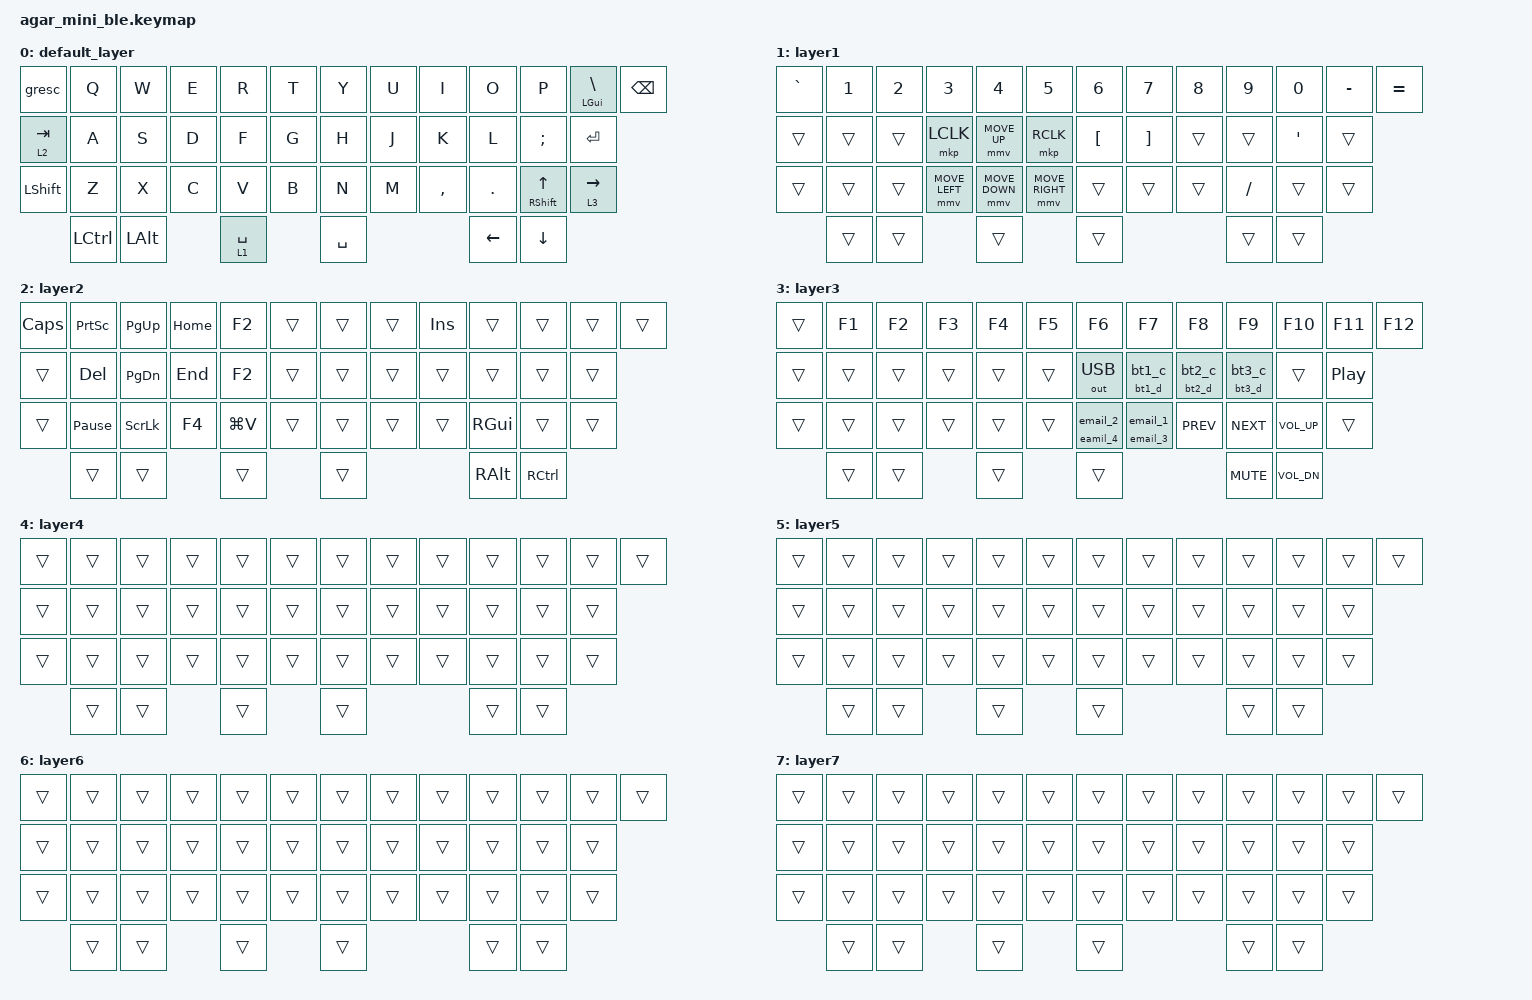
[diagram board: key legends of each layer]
/*
 * Copyright (c) 2021 The ZMK Contributors
 *
 * SPDX-License-Identifier: MIT
 */

#include "./boards/shields/klink_kbd/common.keymap"
#include <behaviors.dtsi>
#include <dt-bindings/zmk/bt.h>
#include <dt-bindings/zmk/keys.h>
#include <dt-bindings/zmk/outputs.h>
#include <dt-bindings/zmk/pointing.h>

/ {
    macros {
        bt1_c: ble1 {
            compatible = "zmk,behavior-macro";
            #binding-cells = <0>;
            bindings = <&out OUT_BLE &bt BT_SEL 1>;
            label = "BLE1";
        };

        bt2_c: ble2 {
            compatible = "zmk,behavior-macro";
            #binding-cells = <0>;
            bindings = <&out OUT_BLE &bt BT_SEL 2>;
            label = "BLE2";
        };

        bt3_c: bt3 {
            compatible = "zmk,behavior-macro";
            #binding-cells = <0>;
            bindings = <&out OUT_BLE &bt BT_SEL 3>;
            label = "BT3";
        };

        bt1_d: bt1_d {
            compatible = "zmk,behavior-macro";
            #binding-cells = <0>;
            bindings = <&bt BT_SEL 1 &bt BT_CLR>;
            label = "BT1_D";
        };

        bt2_d: bt2_d {
            compatible = "zmk,behavior-macro";
            #binding-cells = <0>;
            bindings = <&bt BT_SEL 2 &bt BT_CLR>;
            label = "BT2_D";
        };

        bt3_d: bt3_d {
            compatible = "zmk,behavior-macro";
            #binding-cells = <0>;
            bindings = <&bt BT_SEL 3 &bt BT_CLR>;
            label = "BT3_D";
        };

        email_1: email_1 {
            compatible = "zmk,behavior-macro";
            #binding-cells = <0>;
            bindings = <&kp G &kp L &kp I &kp E &kp S &kp E &kp N2 &kp N7 &kp N1 &kp N8 &kp AT &kp G &kp M &kp A &kp I &kp L &kp DOT &kp C &kp O &kp M>;
            label = "EMAIL_1";
        };

        email_2: email_2 {
            compatible = "zmk,behavior-macro";
            #binding-cells = <0>;
            bindings = <&kp K &kp E &kp P &kp L &kp E &kp R &kp DOT &kp D &kp E &kp V &kp DOT &kp N3 &kp N1 &kp N4 &kp N1 &kp AT &kp G &kp M &kp A &kp I &kp L &kp DOT &kp C &kp O &kp M>;
            label = "EMAIL_2";
        };

        email_3: email_3 {
            compatible = "zmk,behavior-macro";
            #binding-cells = <0>;
            bindings = <&kp K &kp E &kp P &kp L &kp E &kp R &kp DOT &kp G &kp A &kp M &kp E &kp DOT &kp N3 &kp N1 &kp N4 &kp N1 &kp AT &kp G &kp M &kp A &kp I &kp L &kp DOT &kp C &kp O &kp M>;
            label = "EMAIL_3";
        };

        eamil_4: eamil_4 {
            compatible = "zmk,behavior-macro";
            #binding-cells = <0>;
            bindings = <&kp P &kp A &kp R &kp K &kp S &kp J &kp AT &kp O &kp DOT &kp C &kp N &kp U &kp DOT &kp A &kp C &kp DOT &kp K &kp R>;
            label = "EAMIL_4";
        };
    };

    behaviors {
        bt1: bt1 {
            compatible = "zmk,behavior-hold-tap";
            label = "BT1";
            bindings = <&bt1_d>, <&bt1_c>;

            #binding-cells = <2>;
            tapping-term-ms = <3000>;
        };

        bt2: bt2 {
            compatible = "zmk,behavior-hold-tap";
            label = "BT2";
            bindings = <&bt2_d>, <&bt2_c>;

            #binding-cells = <2>;
            tapping-term-ms = <3000>;
        };

        bt3: bt3 {
            compatible = "zmk,behavior-hold-tap";
            label = "BT3";
            bindings = <&bt3_d>, <&bt3_c>;

            #binding-cells = <2>;
            tapping-term-ms = <3000>;
        };

        email1: email1 {
            compatible = "zmk,behavior-hold-tap";
            label = "EMAIL1";
            bindings = <&email_3>, <&email_1>;

            #binding-cells = <2>;
            tapping-term-ms = <500>;
        };

        email2: email2 {
            compatible = "zmk,behavior-hold-tap";
            label = "EMAIL2";
            #binding-cells = <2>;
            tapping-term-ms = <500>;
            bindings = <&eamil_4>, <&email_2>;
        };
    };

    keymap {
        compatible = "zmk,keymap";

        default_layer {
            bindings = <
&gresc     &kp Q      &kp W     &kp E  &kp R        &kp T  &kp Y      &kp U  &kp I      &kp O           &kp P                &mt LGUI BACKSLASH  &kp BSPC
&lt 2 TAB  &kp A      &kp S     &kp D  &kp F        &kp G  &kp H      &kp J  &kp K      &kp L           &kp SEMI             &kp RET
&kp LSHFT  &kp Z      &kp X     &kp C  &kp V        &kp B  &kp N      &kp M  &kp COMMA  &kp DOT         &mt RSHIFT UP_ARROW  &lt 3 RIGHT_ARROW
           &kp LCTRL  &kp LALT         &lt 1 SPACE         &kp SPACE                    &kp LEFT_ARROW  &kp DOWN_ARROW
            >;
        };

        layer1 {
            bindings = <
&kp GRAVE  &kp N1  &kp N2  &kp N3          &kp N4          &kp N5           &kp N6            &kp N7             &kp N8  &kp N9     &kp N0            &kp MINUS  &kp EQUAL
&trans     &trans  &trans  &mkp LCLK       &mmv MOVE_UP    &mkp RCLK        &kp LEFT_BRACKET  &kp RIGHT_BRACKET  &trans  &trans     &kp SINGLE_QUOTE  &trans
&trans     &trans  &trans  &mmv MOVE_LEFT  &mmv MOVE_DOWN  &mmv MOVE_RIGHT  &trans            &trans             &trans  &kp SLASH  &trans            &trans
           &trans  &trans                  &trans                           &trans                                       &trans     &trans
            >;
        };

        layer2 {
            bindings = <
&kp CAPSLOCK  &kp PRINTSCREEN  &kp PAGE_UP     &kp HOME  &kp F2     &trans  &trans  &trans  &kp INSERT  &trans    &trans     &trans  &trans
&trans        &kp DELETE       &kp PAGE_DOWN   &kp END   &kp F2     &trans  &trans  &trans  &trans      &trans    &trans     &trans
&trans        &kp PAUSE_BREAK  &kp SCROLLLOCK  &kp F4    &kp LG(V)  &trans  &trans  &trans  &trans      &kp RGUI  &trans     &trans
              &trans           &trans                    &trans             &trans                      &kp RALT  &kp RCTRL
            >;
        };

        layer3 {
            bindings = <
&trans  &kp F1  &kp F2  &kp F3  &kp F4  &kp F5  &kp F6        &kp F7       &kp F8      &kp F9      &kp F10       &kp F11           &kp F12
&trans  &trans  &trans  &trans  &trans  &trans  &out OUT_USB  &bt1 0 0     &bt2 0 0    &bt3 0 0    &trans        &kp C_PLAY_PAUSE
&trans  &trans  &trans  &trans  &trans  &trans  &email2 0 0   &email1 0 0  &kp C_PREV  &kp C_NEXT  &kp C_VOL_UP  &trans
        &trans  &trans          &trans          &trans                                 &kp C_MUTE  &kp C_VOL_DN
            >;
        };

        layer4 {
            bindings = <
&trans  &trans  &trans  &trans  &trans  &trans  &trans  &trans  &trans  &trans  &trans  &trans  &trans
&trans  &trans  &trans  &trans  &trans  &trans  &trans  &trans  &trans  &trans  &trans  &trans
&trans  &trans  &trans  &trans  &trans  &trans  &trans  &trans  &trans  &trans  &trans  &trans
        &trans  &trans          &trans          &trans                  &trans  &trans
            >;
        };

        layer5 {
            bindings = <
&trans  &trans  &trans  &trans  &trans  &trans  &trans  &trans  &trans  &trans  &trans  &trans  &trans
&trans  &trans  &trans  &trans  &trans  &trans  &trans  &trans  &trans  &trans  &trans  &trans
&trans  &trans  &trans  &trans  &trans  &trans  &trans  &trans  &trans  &trans  &trans  &trans
        &trans  &trans          &trans          &trans                  &trans  &trans
            >;
        };

        layer6 {
            bindings = <
&trans  &trans  &trans  &trans  &trans  &trans  &trans  &trans  &trans  &trans  &trans  &trans  &trans
&trans  &trans  &trans  &trans  &trans  &trans  &trans  &trans  &trans  &trans  &trans  &trans
&trans  &trans  &trans  &trans  &trans  &trans  &trans  &trans  &trans  &trans  &trans  &trans
        &trans  &trans          &trans          &trans                  &trans  &trans
            >;
        };

        layer7 {
            bindings = <
&trans  &trans  &trans  &trans  &trans  &trans  &trans  &trans  &trans  &trans  &trans  &trans  &trans
&trans  &trans  &trans  &trans  &trans  &trans  &trans  &trans  &trans  &trans  &trans  &trans
&trans  &trans  &trans  &trans  &trans  &trans  &trans  &trans  &trans  &trans  &trans  &trans
        &trans  &trans          &trans          &trans                  &trans  &trans
            >;
        };
    };
};
